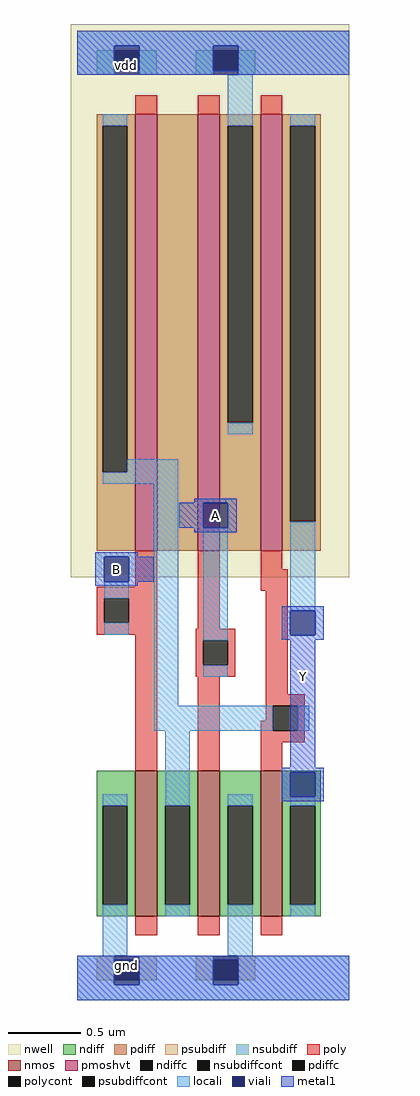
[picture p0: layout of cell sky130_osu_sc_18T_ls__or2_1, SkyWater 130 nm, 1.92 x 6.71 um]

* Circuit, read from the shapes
.subckt sky130_osu_sc_18T_ls__or2_1 Y A B
XM1 n1 B gnd gnd sky130_fd_pr__nfet_01v8 w=1 l=0.15
XM2 gnd A n1 gnd sky130_fd_pr__nfet_01v8 w=1 l=0.15
XM3 Y n1 gnd gnd sky130_fd_pr__nfet_01v8 w=1 l=0.15
XM4 n2 B n1 vdd sky130_fd_pr__pfet_01v8_hvt w=3 l=0.15
XM5 vdd A n2 vdd sky130_fd_pr__pfet_01v8_hvt w=3 l=0.15
XM6 Y n1 vdd vdd sky130_fd_pr__pfet_01v8_hvt w=3 l=0.15
.ends

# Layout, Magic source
magic
tech sky130A
magscale 1 2
<< nwell >>
rect -9 581 374 1341
<< nmos >>
rect 80 115 110 315
rect 166 115 196 315
rect 252 115 282 315
<< pmoshvt >>
rect 80 617 110 1217
rect 166 617 196 1217
rect 252 617 282 1217
<< ndiff >>
rect 27 267 80 315
rect 27 131 35 267
rect 69 131 80 267
rect 27 115 80 131
rect 110 267 166 315
rect 110 131 121 267
rect 155 131 166 267
rect 110 115 166 131
rect 196 267 252 315
rect 196 131 207 267
rect 241 131 252 267
rect 196 115 252 131
rect 282 267 335 315
rect 282 131 293 267
rect 327 131 335 267
rect 282 115 335 131
<< pdiff >>
rect 27 1201 80 1217
rect 27 725 35 1201
rect 69 725 80 1201
rect 27 617 80 725
rect 110 617 166 1217
rect 196 1201 252 1217
rect 196 793 207 1201
rect 241 793 252 1201
rect 196 617 252 793
rect 282 1201 335 1217
rect 282 657 293 1201
rect 327 657 335 1201
rect 282 617 335 657
<< ndiffc >>
rect 35 131 69 267
rect 121 131 155 267
rect 207 131 241 267
rect 293 131 327 267
<< pdiffc >>
rect 35 725 69 1201
rect 207 793 241 1201
rect 293 657 327 1201
<< psubdiff >>
rect 27 27 51 61
rect 85 27 109 61
rect 163 27 187 61
rect 221 27 245 61
<< nsubdiff >>
rect 27 1271 51 1305
rect 85 1271 109 1305
rect 163 1271 187 1305
rect 221 1271 245 1305
<< psubdiffcont >>
rect 51 27 85 61
rect 187 27 221 61
<< nsubdiffcont >>
rect 51 1271 85 1305
rect 187 1271 221 1305
<< poly >>
rect 80 1217 110 1243
rect 166 1217 196 1243
rect 252 1217 282 1243
rect 80 568 110 617
rect 27 552 110 568
rect 27 518 37 552
rect 71 518 110 552
rect 27 502 110 518
rect 166 510 196 617
rect 252 592 282 617
rect 252 562 289 592
rect 80 315 110 502
rect 163 494 217 510
rect 163 460 173 494
rect 207 460 217 494
rect 163 444 217 460
rect 166 315 196 444
rect 259 420 289 562
rect 259 404 313 420
rect 259 384 269 404
rect 252 370 269 384
rect 303 370 313 404
rect 252 354 313 370
rect 252 315 282 354
rect 80 89 110 115
rect 166 89 196 115
rect 252 89 282 115
<< polycont >>
rect 37 518 71 552
rect 173 460 207 494
rect 269 370 303 404
<< locali >>
rect 0 1311 374 1332
rect 0 1271 51 1311
rect 85 1271 187 1311
rect 221 1271 374 1311
rect 35 1201 69 1217
rect 207 1201 241 1271
rect 207 777 241 793
rect 293 1201 327 1217
rect 69 725 139 743
rect 35 709 139 725
rect 37 552 71 575
rect 37 502 71 518
rect 105 404 139 709
rect 173 494 207 649
rect 293 535 327 657
rect 173 444 207 460
rect 105 370 269 404
rect 303 370 319 404
rect 35 267 69 283
rect 35 61 69 131
rect 121 267 155 370
rect 121 115 155 131
rect 207 267 241 283
rect 207 61 241 131
rect 293 267 327 279
rect 293 115 327 131
rect 0 21 51 61
rect 85 21 187 61
rect 221 21 374 61
rect 0 0 374 21
<< viali >>
rect 51 1305 85 1311
rect 51 1277 85 1305
rect 187 1305 221 1311
rect 187 1277 221 1305
rect 37 575 71 609
rect 173 649 207 683
rect 293 501 327 535
rect 293 279 327 313
rect 51 27 85 55
rect 51 21 85 27
rect 187 27 221 55
rect 187 21 221 27
<< metal1 >>
rect 0 1311 374 1332
rect 0 1277 51 1311
rect 85 1277 187 1311
rect 221 1277 374 1311
rect 0 1271 374 1277
rect 161 683 219 689
rect 140 649 173 683
rect 207 649 219 683
rect 161 643 219 649
rect 25 609 83 615
rect 25 575 37 609
rect 71 575 105 609
rect 25 569 83 575
rect 281 535 339 541
rect 281 501 293 535
rect 327 501 339 535
rect 281 495 339 501
rect 293 319 327 495
rect 281 313 339 319
rect 281 279 293 313
rect 327 279 339 313
rect 281 273 339 279
rect 0 55 374 61
rect 0 21 51 55
rect 85 21 187 55
rect 221 21 374 55
rect 0 0 374 21
<< labels >>
rlabel metal1 311 444 311 444 1 Y
port 1 n
rlabel metal1 190 666 190 666 1 A
port 2 n
rlabel metal1 54 592 54 592 1 B
port 3 n
rlabel viali 68 48 68 48 1 gnd
rlabel viali 68 1284 68 1284 1 vdd
<< end >>
